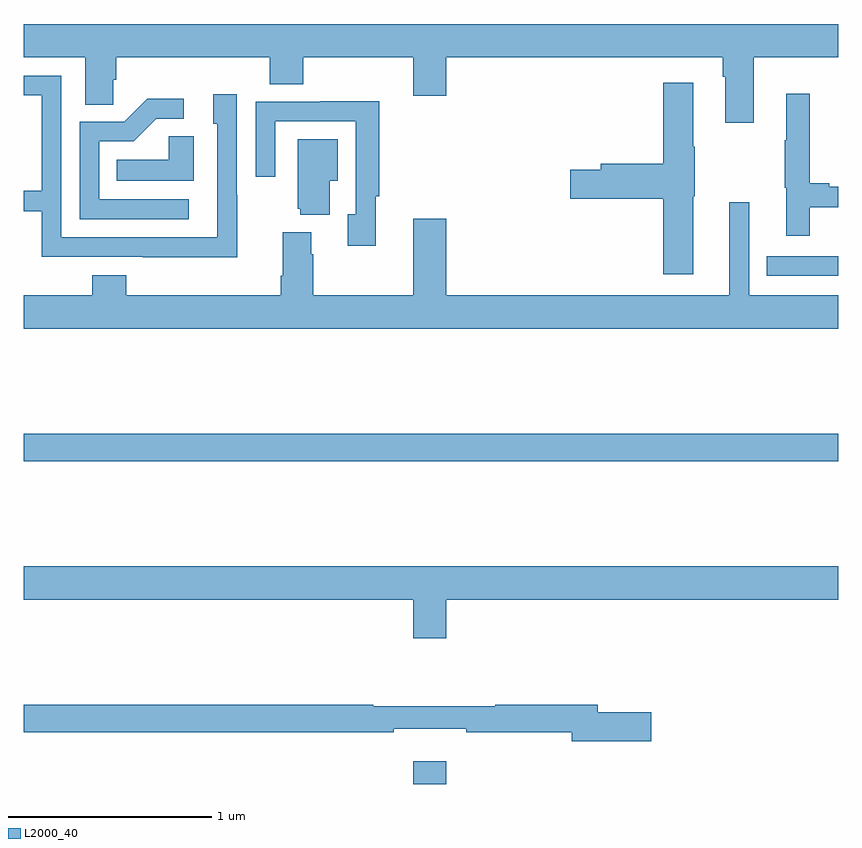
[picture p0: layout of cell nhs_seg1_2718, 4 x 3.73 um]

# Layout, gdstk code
import gdstk
lib = gdstk.Library(unit=1e-6, precision=1e-09)
def R(c, l, rs):  # rectangles x0, y0, x1, y1
    for r in rs: c.add(gdstk.rectangle(r[:2], r[2:], *l))
def P(c, l, *ps):  # polygons
    for p in ps: c.add(gdstk.Polygon(p, *l))
L2000_40 = (2000, 40)

nhs_seg1_2718 = lib.new_cell('nhs_seg1_2718')
R(nhs_seg1_2718, L2000_40, [(260.912,512.199,261.076,512.311), (259,513.784,263,513.92), (262.648,514.695,263,514.791)])
P(nhs_seg1_2718, L2000_40, [(262.585,515.768),(263,515.768),(263,515.932),(259,515.932),(259,515.768),(259.301,515.768),(259.301,515.536),(259.44,515.536),(259.44,515.659),(259.454,515.659),(259.454,515.768),(260.207,515.768),(260.207,515.635),(260.372,515.635),(260.372,515.768),(260.912,515.768),(260.912,515.58),(261.076,515.58),(261.076,515.768),(262.433,515.768),(262.433,515.672),(262.445,515.672),(262.445,515.448),(262.585,515.448)],
  [(260.049,515.093),(260.046,515.093),(260.046,515.587),(259.931,515.587),(259.931,515.442),(259.95,515.442),(259.95,514.884),(259.185,514.884),(259.185,515.679),(259,515.679),(259,515.583),(259.089,515.583),(259.089,515.114),(259,515.114),(259,515.013),(259.089,515.013),(259.089,514.788),(259.585,514.788),(259.585,514.787),(260.049,514.787)],
  [(262.288,515.085),(262.296,515.085),(262.296,515.329),(262.288,515.329),(262.288,515.644),(262.142,515.644),(262.142,515.246),(261.833,515.246),(261.833,515.216),(261.684,515.216),(261.684,515.074),(262.142,515.074),(262.142,514.704),(262.288,514.704)],
  [(262.861,515.033),(263,515.033),(263,515.133),(262.957,515.133),(262.957,515.15),(262.861,515.15),(262.861,515.59),(262.745,515.59),(262.745,515.36),(262.738,515.36),(262.738,515.127),(262.745,515.127),(262.745,514.893),(262.861,514.893)],
  [(259.81,515.07),(259.371,515.07),(259.371,515.355),(259.54,515.355),(259.651,515.466),(259.786,515.466),(259.786,515.564),(259.607,515.564),(259.494,515.451),(259.275,515.451),(259.275,514.974),(259.81,514.974)],
  [(260.729,515.086),(260.747,515.086),(260.747,515.552),(260.455,515.552),(260.455,515.55),(260.139,515.55),(260.139,515.181),(260.235,515.181),(260.235,515.454),(260.631,515.454),(260.631,514.998),(260.591,514.998),(260.591,514.842),(260.729,514.842)],
  [(259.834,515.381),(259.713,515.381),(259.713,515.266),(259.456,515.266),(259.456,515.162),(259.834,515.162)],
  [(260.503,515.162),(260.542,515.162),(260.542,515.365),(260.345,515.365),(260.345,515.025),(260.357,515.025),(260.357,514.994),(260.503,514.994)],
  [(263,514.6),(262.563,514.6),(262.563,515.056),(262.466,515.056),(262.466,514.6),(261.076,514.6),(261.076,514.975),(260.912,514.975),(260.912,514.6),(260.421,514.6),(260.421,514.802),(260.413,514.802),(260.413,514.909),(260.273,514.909),(260.273,514.696),(260.261,514.696),(260.261,514.6),(259.502,514.6),(259.502,514.699),(259.337,514.699),(259.337,514.6),(259,514.6),(259,514.436),(263,514.436)],
  [(261.076,513.104),(263,513.104),(263,513.268),(259,513.268),(259,513.104),(260.912,513.104),(260.912,512.916),(261.076,512.916)],
  [(262.081,512.552),(261.82,512.552),(261.82,512.588),(261.316,512.588),(261.316,512.581),(260.716,512.581),(260.716,512.588),(259,512.588),(259,512.452),(260.816,512.452),(260.816,512.471),(261.172,512.471),(261.172,512.452),(261.692,512.452),(261.692,512.41),(262.081,512.41)])

lib.write_gds('nhs_seg1_2718.gds')
